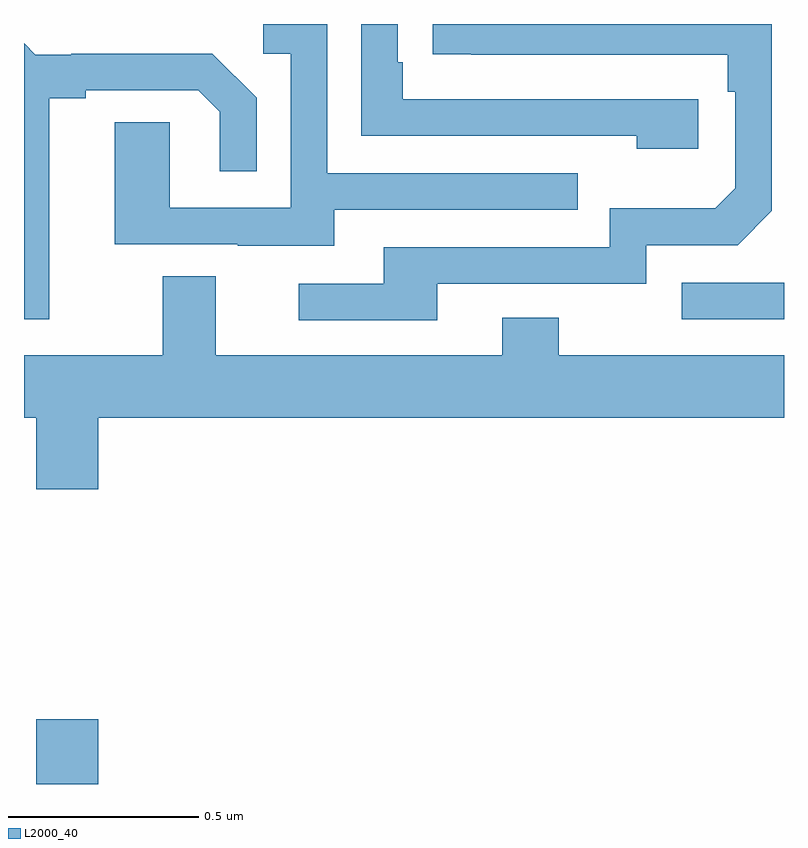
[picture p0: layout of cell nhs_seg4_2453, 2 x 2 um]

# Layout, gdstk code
import gdstk
lib = gdstk.Library(unit=1e-6, precision=1e-09)
def R(c, l, rs):  # rectangles x0, y0, x1, y1
    for r in rs: c.add(gdstk.rectangle(r[:2], r[2:], *l))
def P(c, l, *ps):  # polygons
    for p in ps: c.add(gdstk.Polygon(p, *l))
L2000_40 = (2000, 40)

nhs_seg4_2453 = lib.new_cell('nhs_seg4_2453')
R(nhs_seg4_2453, L2000_40, [(141.032,751.9,141.196,752.071), (142.731,753.123,143,753.219)])
P(nhs_seg4_2453, L2000_40, [(142.087,753.216),(142.638,753.216),(142.638,753.318),(142.878,753.318),(142.968,753.408),(142.968,753.9),(142.075,753.9),(142.075,753.82),(142.177,753.82),(142.177,753.819),(142.852,753.819),(142.852,753.722),(142.872,753.722),(142.872,753.468),(142.819,753.415),(142.542,753.415),(142.542,753.312),(141.947,753.312),(141.947,753.216),(141.723,753.216),(141.723,753.12),(142.087,753.12)],
  [(141.817,753.411),(142.457,753.411),(142.457,753.507),(141.798,753.507),(141.798,753.9),(141.63,753.9),(141.63,753.822),(141.702,753.822),(141.702,753.417),(141.384,753.417),(141.384,753.641),(141.239,753.641),(141.239,753.321),(141.563,753.321),(141.563,753.317),(141.817,753.317)],
  [(142.774,753.702),(141.997,753.702),(141.997,753.799),(141.984,753.799),(141.984,753.9),(141.888,753.9),(141.888,753.606),(142.613,753.606),(142.613,753.572),(142.774,753.572)],
  [(141.067,753.704),(141.163,753.704),(141.163,753.726),(141.458,753.726),(141.515,753.669),(141.515,753.513),(141.612,753.513),(141.612,753.706),(141.496,753.822),(141.124,753.822),(141.124,753.819),(141.03,753.819),(141,753.849),(141,753.123),(141.067,753.123)],
  [(141.196,752.864),(143,752.864),(143,753.028),(142.407,753.028),(142.407,753.127),(142.259,753.127),(142.259,753.028),(141.505,753.028),(141.505,753.236),(141.365,753.236),(141.365,753.028),(141,753.028),(141,752.864),(141.032,752.864),(141.032,752.676),(141.196,752.676)])

lib.write_gds('nhs_seg4_2453.gds')
